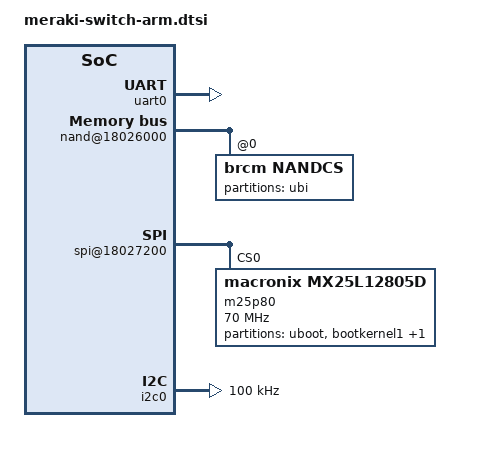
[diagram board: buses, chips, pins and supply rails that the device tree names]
/*
 * Base device tree for Meraki switch-arm products, including:
 *
 *   * MS410 (Wolfcastle, Firescout BCM56547/8)
 *   * MS425 (Hungry Hungry Hippo, Vega+ BCM58525)
 *
 * Copyright 2015 Cisco Systems
 * Dean Thomas <dean.thomas@meraki.com>
 *
 * Licensed under the GNU/GPL. See COPYING for details.
 */

#include <dt-bindings/gpio/gpio.h>
#include <dt-bindings/interrupt-controller/irq.h>
#include <dt-bindings/interrupt-controller/arm-gic.h>
#include "skeleton.dtsi"

/ {
	interrupt-parent = <&gic>;

	mpcore {
		compatible = "simple-bus";

		#address-cells = <1>;
		#size-cells = <1>;

		ranges = <0x0 0x19020000 0x00003000>;

		scu@0000 {
			compatible = "arm,cortex-a9-scu";
			reg = <0x0000 0x100>;
		};

		timer@0200 {
			compatible = "arm,cortex-a9-global-timer";
			reg = <0x0200 0x100>;
			interrupts = <GIC_PPI 11 IRQ_TYPE_LEVEL_HIGH>;
			clocks = <&clk_periph>;
		};

		local-timer@0600 {
			compatible = "arm,cortex-a9-twd-timer";
			reg = <0x0600 0x100>;
			interrupts = <GIC_PPI 13 IRQ_TYPE_LEVEL_HIGH>;
			clocks = <&clk_periph>;
		};

		gic: interrupt-controller@1000 {
			compatible = "arm,cortex-a9-gic";
			reg = <0x1000 0x1000>,
			      <0x0100 0x100>;

			#address-cells = <0>;
			#interrupt-cells = <3>;

			interrupt-controller;
		};

		L2: cache-controller@2000 {
			compatible = "arm,pl310-cache";
			reg = <0x2000 0x1000>;
			cache-unified;
			cache-level = <2>;
		};
	};

	/**
	 * The "fixed-clock" driver allows us to specify clock frequencies
	 * but doesn't actually control the clock in any way (enable, gate,
	 * change rate, etc) -- it's purely informational.
	 *
	 * These clocks are defined here only so that other device nodes
	 * can refer to them by phandle.
	 */
	clocks {
		apb_clk: axi_clk3 {
			compatible = "fixed-clock";

			#clock-cells = <0>;

			clock-frequency = <125000000>;
		};
	};

	cpus {
		#address-cells = <1>;
		#size-cells = <0>;

		cpu@0 {
			device_type = "cpu";
			compatible = "arm,cortex-a9";
			reg = <0x0>;
			next-level-cache = <&L2>;
		};
	};

	axi {
		compatible = "arm,amba-bus";

		#address-cells = <1>;
		#size-cells = <1>;

		ranges;

		chipcommonA {
			compatible = "arm,amba-bus";

			#address-cells = <1>;
			#size-cells = <1>;

			ranges = <0x0 0x18000000 0x00010000>;

			uart0: serial@0300 {
				compatible = "ns16550";
				reg = <0x0300 0x08>;
				clock-frequency = <62500000>;
			};
		};

		nand@18026000 {
			compatible = "brcm,nand-iproc",
				     "brcm,brcmnand-v6.0",
				     "brcm,brcmnand";
			reg = <0x18026000 0x600>,
			      <0x1811b408 0x600>,
			      <0x18026f00 0x20>;
			reg-names = "nand",
				    "iproc-idm",
				    "iproc-ext";

			#address-cells = <1>;
			#size-cells = <0>;

			brcm,nand-has-wp;

			nandcs@0 {
				compatible = "brcm,nandcs";
				reg = <0>;

				#address-cells = <1>;
				#size-cells = <1>;

				nand-on-flash-bbt;
				nand-ecc-strength = <24>;
				nand-ecc-step-size = <1024>;

				partition@0 {
					label = "ubi";
					reg   = <0x0 0x40000000>;
				};
			};
		};

		spi@18027200 {
			compatible = "brcm,qspi";
			reg = <0x18027200 0x188>,	// MSPI range
			      <0x18027000 0x50>,	// BSPI range
			      <0x18027100 0x24>,	// BSPI_RAF range
			      <0x180273a0 0x1c>,	// QSPI interrupt range
			      <0x1811c408 0x4>,		// QSPI_IDM_IDM_IO_CONTROL_DIRECT
			      <0x1803e000 0x4>;		// CRU_control

			#address-cells = <1>;
			#size-cells = <0>;

			clocks = <&apb_clk>;

			m25p80@0 {
				compatible = "macronix,mx25l12805d";
				reg = <0>;

				#address-cells = <1>;
				#size-cells = <1>;

				spi-max-frequency = <70000000>;
				m25p,fast-read;

				partition@0 {
					label = "uboot";
					reg   = <0x0 0x100000>;
				};

				partition@1 {
					label = "bootkernel1";
					reg   = <0x100000 0x700000>;
				};

				partition@2 {
					label = "bootkernel2";
					reg   = <0x800000 0x700000>;
				};
			};
		};

		chipcommonB {
			compatible = "arm,amba-bus";

			#address-cells = <1>;
			#size-cells = <1>;

			ranges = <0x0 0x18030000 0x00010000>;

			i2c0: i2c@8000 {
				compatible = "brcm,iproc-i2c";
				reg = <0x8000 0x100>;

				#address-cells = <1>;
				#size-cells = <0>;

				clock-frequency = <100000>;
			};

			wdt@9000 {
				compatible = "arm,sp805", "arm,primecell";
				reg = <0x9000 0x1000>;
				clocks = <&apb_clk>;
				clock-names = "apb_pclk";
			};
		};
	};

	/**
	 * This node configures the bcma bus driver. Physically, this
	 * is the same bus represented by the "axi" node above, but the
	 * bcma bus driver scans the bus and automatically registers
	 * devices for any cores that it finds, simplifying configuration
	 * and allowing us to use bcma drivers available in mainline Linux.
	 *
	 * As noted in the brcm,bus-axi binding document, the driver cannot
	 * automatically detect interrupt numbers, so devices that generate
	 * interrupts need to be defined using the interrupt-map property
	 * here (or in the appropriate board device tree).
	 */
	bcma {
		compatible = "brcm,bus-axi";
		reg = <0x18000000 0x1000>;

		#address-cells = <1>;
		#size-cells = <1>;

		ranges = <0x0 0x18000000 0x00100000>;

		#interrupt-cells = <1>;

		interrupt-map-mask = <0xffffffff 0xffff>;

		/**
		 * We need to explicitly define the chipcommonA block since
		 * it acts as a gpio-controller and an interrupt-controller
		 * and other nodes need to refer to it by phandle.
		 */
		gpio0: chipcommonA {
			reg = <0x0 0x1000>;
			gpio-controller;
			#gpio-cells = <2>;
			interrupt-controller;
			#interrupt-cells = <1>;
		};
	};

	/*
	 * Virtual (software defined) devices
	 */
	board-data {
		compatible = "meraki,meraki-config";
		i2c-eeprom = <&config_eeprom>;
	};
};
